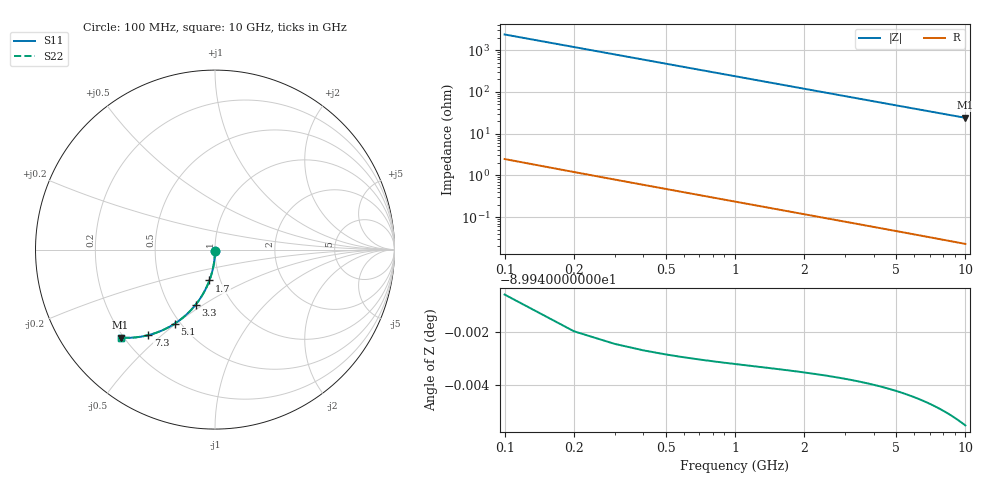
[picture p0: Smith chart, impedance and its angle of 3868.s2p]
# Hz S RI R 50.00
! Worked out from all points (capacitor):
!   100 points, 100 MHz to 10 GHz, reference 50 ohm
!   read as one part in shunt: C = 670 fF near 100 MHz
!   lowest |Z| = 23.9 ohm at 10 GHz (marker M1)
!   S11 on the Smith chart (normalised r, x): 100 MHz: 1.00, -0.02; 1.7 GHz: 0.89, -0.31; 3.3 GHz: 0.68, -0.46; 5.1 GHz: 0.47, -0.49; 7.3 GHz: 0.30, -0.45; 10 GHz: 0.19, -0.38
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1e8  -8.08e-05 -0.0104  0.9998 -0.0106  0.9998 -0.0106  -8.08e-05 -0.0104
2e8  -0.000423 -0.0209  0.9995 -0.0212  0.9995 -0.0212  -0.000423 -0.0209
3e8  -0.000987 -0.0313  0.9989 -0.0318  0.9989 -0.0318  -0.000987 -0.0313
4e8  -0.00177 -0.0417  0.9981 -0.0424  0.9981 -0.0424  -0.00177 -0.0417
5e8  -0.00277 -0.0521  0.9971 -0.0529  0.9971 -0.0529  -0.00277 -0.0521
6e8  -0.00399 -0.0624  0.9959 -0.0634  0.9959 -0.0634  -0.00399 -0.0624
8e8  -0.00708 -0.0829  0.9928 -0.0843  0.9928 -0.0843  -0.00708 -0.0829
9e8  -0.00895 -0.0931  0.991 -0.0946  0.991 -0.0946  -0.00895 -0.0931
1.1e9  -0.0133 -0.1133  0.9866 -0.1152  0.9866 -0.1152  -0.0133 -0.1133
1.4e9  -0.0213 -0.143  0.9786 -0.1454  0.9786 -0.1454  -0.0213 -0.143
1.7e9  -0.0311 -0.1719  0.9688 -0.1748  0.9688 -0.1748  -0.0311 -0.1719
1.8e9  -0.0348 -0.1813  0.9651 -0.1843  0.9651 -0.1843  -0.0348 -0.1813
2.1e9  -0.0467 -0.2089  0.9532 -0.2124  0.9532 -0.2124  -0.0467 -0.2089
2.5e9  -0.0649 -0.2439  0.935 -0.2481  0.935 -0.2481  -0.0649 -0.2439
3.3e9  -0.1078 -0.307  0.8921 -0.3125  0.8921 -0.3125  -0.1078 -0.307
3.4e9  -0.1137 -0.3142  0.8862 -0.3199  0.8862 -0.3199  -0.1137 -0.3142
4.2e9  -0.1637 -0.366  0.8362 -0.3731  0.8362 -0.3731  -0.1637 -0.366
5.1e9  -0.2239 -0.4121  0.776 -0.4207  0.776 -0.4207  -0.2239 -0.4121
6.7e9  -0.3323 -0.4649  0.6676 -0.4762  0.6676 -0.4762  -0.3323 -0.4649
7.3e9  -0.3713 -0.4765  0.6285 -0.4889  0.6285 -0.4889  -0.3713 -0.4765
8.4e9  -0.4389 -0.4886  0.5609 -0.5029  0.5609 -0.5029  -0.4389 -0.4886
1e10  -0.5258 -0.4903  0.474 -0.5073  0.474 -0.5073  -0.5258 -0.4903
